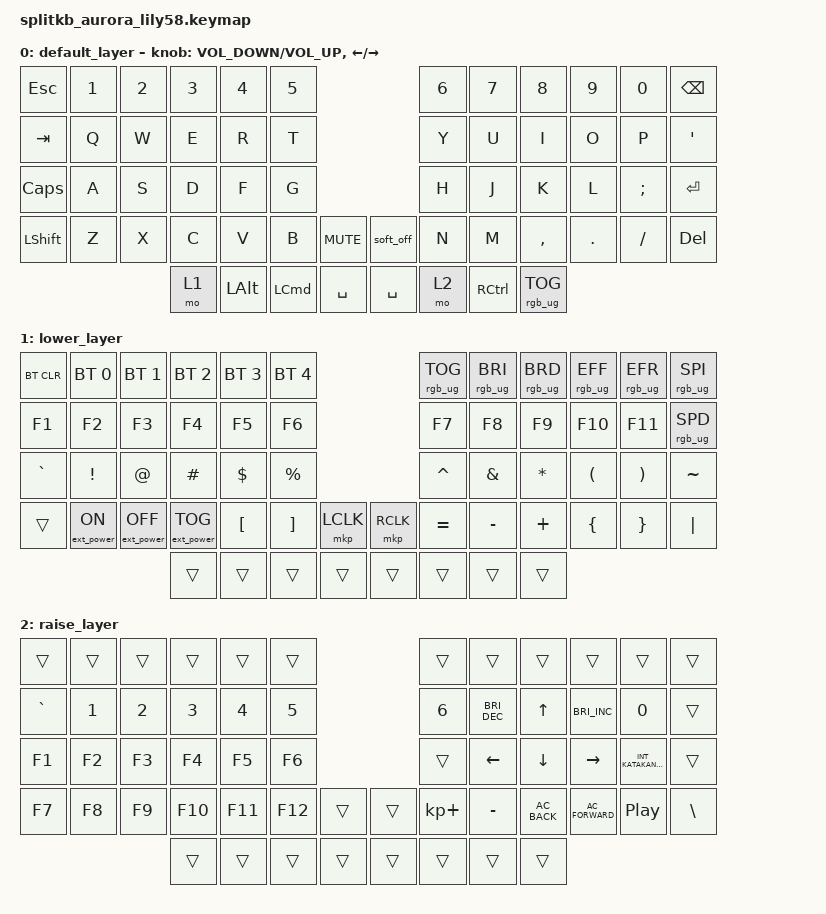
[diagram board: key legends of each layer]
/*
 * Copyright (c) 2022 The ZMK Contributors
 *
 * SPDX-License-Identifier: MIT
 */

#include <behaviors.dtsi>
#include <dt-bindings/zmk/bt.h>
#include <dt-bindings/zmk/ext_power.h>
#include <dt-bindings/zmk/keys.h>
#include <dt-bindings/zmk/pointing.h>
#include <dt-bindings/zmk/rgb.h>

/ {
    keymap {
        compatible = "zmk,keymap";

        default_layer {
            // ------------------------------------------------------------------------------------------------------------
            // |  ESC  |  1  |  2  |  3   |  4   |  5   |                   |  6   |  7    |  8    |  9   |   0   |   `   |
            // |  TAB  |  Q  |  W  |  E   |  R   |  T   |                   |  Y   |  U    |  I    |  O   |   P   |   -   |
            // |  CTRL |  A  |  S  |  D   |  F   |  G   |                   |  H   |  J    |  K    |  L   |   ;   |   '   |
            // | SHIFT |  Z  |  X  |  C   |  V   |  B   |   "["  |  |  "]"  |  N   |  M    |  ,    |  .   |   /   | SHIFT |
            //                     | ALT  | GUI  | LOWER|  SPACE |  | ENTER | RAISE| BSPC  | GUI   |

            bindings = <
&kp ESC       &kp N1  &kp N2  &kp N3  &kp N4        &kp N5                                     &kp N6  &kp N7             &kp N8           &kp N9   &kp N0    &kp BACKSPACE
&kp TAB       &kp Q   &kp W   &kp E   &kp R         &kp T                                      &kp Y   &kp U              &kp I            &kp O    &kp P     &kp APOSTROPHE
&kp CAPSLOCK  &kp A   &kp S   &kp D   &kp F         &kp G                                      &kp H   &kp J              &kp K            &kp L    &kp SEMI  &kp ENTER
&kp LSHIFT    &kp Z   &kp X   &kp C   &kp V         &kp B             &kp K_MUTE    &soft_off  &kp N   &kp M              &kp COMMA        &kp DOT  &kp FSLH  &kp DELETE
                              &mo 1   &kp LEFT_ALT  &kp LEFT_COMMAND  &kp SPACE     &kp SPACE  &mo 2   &kp RIGHT_CONTROL  &rgb_ug RGB_TOG
            >;

            sensor-bindings =
                <&inc_dec_kp C_VOLUME_DOWN C_VOLUME_UP>,
                <&inc_dec_kp LEFT RIGHT>;
        };

        lower_layer {
            // ------------------------------------------------------------------------------------------------------------
            // | BTCLR | BT1 | BT2 |  BT3 |  BT4 |  BT5 |                   |      |       |       |      |       |       |
            // |  F1   |  F2 |  F3 |  F4  |  F5  |  F6  |                   |  F7  |  F8   |  F9   |  F10 |  F11  |  F12  |
            // |   `   |  !  |  @  |  #   |  $   |  %   |                   |  ^   |  &    |  *    |  (   |   )   |   ~   |
            // |       |     |     |      |      |      |        |  |       |      |  _    |  +    |  {   |   }   |  "|"  |
            //                     |      |      |      |        |  |       |      |       |       |

            bindings = <
&bt BT_CLR  &bt BT_SEL 0      &bt BT_SEL 1       &bt BT_SEL 2       &bt BT_SEL 3      &bt BT_SEL 4                               &rgb_ug RGB_TOG  &rgb_ug RGB_BRI  &rgb_ug RGB_BRD  &rgb_ug RGB_EFF  &rgb_ug RGB_EFR  &rgb_ug RGB_SPI
&kp F1      &kp F2            &kp F3             &kp F4             &kp F5            &kp F6                                     &kp F7           &kp F8           &kp F9           &kp F10          &kp F11          &rgb_ug RGB_SPD
&kp GRAVE   &kp EXCL          &kp AT             &kp HASH           &kp DOLLAR        &kp PRCNT                                  &kp CARET        &kp AMPS         &kp STAR         &kp LPAR         &kp RPAR         &kp TILDE
&trans      &ext_power EP_ON  &ext_power EP_OFF  &ext_power EP_TOG  &kp LEFT_BRACKET  &kp RIGHT_BRACKET  &mkp LCLK    &mkp RCLK  &kp EQUAL        &kp MINUS        &kp PLUS         &kp LBRC         &kp RBRC         &kp PIPE
                                                 &trans             &trans            &trans             &trans       &trans     &trans           &trans           &trans
            >;
        };

        raise_layer {
            // ------------------------------------------------------------------------------------------------------------
            // |       |     |     |      |      |      |                   |      |       |       |      |       |       |
            // |   `   |  1  |  2  |  3   |  4   |  5   |                   |  6   |   7   |   8   |  9   |   0   |       |
            // |   F1  |  F2 |  F3 |  F4  |  F5  |  F6  |                   |      |   <-  |   v   |  ^   |  ->   |       |
            // |   F7  |  F8 |  F9 |  F10 |  F11 |  F12 |        |  |       |  +   |   -   |   =   |  [   |   ]   |   \   |
            //                     |      |      |      |        |  |       |      |       |       |

            bindings = <
&trans     &trans  &trans  &trans   &trans   &trans                     &trans       &trans                &trans         &trans                &trans                    &trans
&kp GRAVE  &kp N1  &kp N2  &kp N3   &kp N4   &kp N5                     &kp N6       &kp C_BRIGHTNESS_DEC  &kp UP         &kp C_BRIGHTNESS_INC  &kp N0                    &trans
&kp F1     &kp F2  &kp F3  &kp F4   &kp F5   &kp F6                     &trans       &kp LEFT              &kp DOWN       &kp RIGHT             &kp INT_KATAKANAHIRAGANA  &trans
&kp F7     &kp F8  &kp F9  &kp F10  &kp F11  &kp F12  &trans    &trans  &kp KP_PLUS  &kp MINUS             &kp C_AC_BACK  &kp C_AC_FORWARD      &kp C_PLAY_PAUSE          &kp BSLH
                           &trans   &trans   &trans   &trans    &trans  &trans       &trans                &trans
            >;
        };
    };
};
